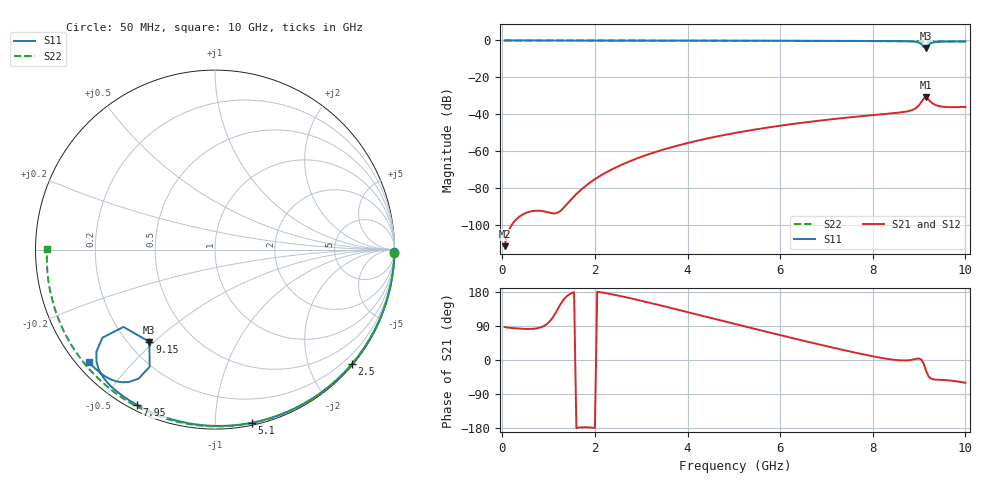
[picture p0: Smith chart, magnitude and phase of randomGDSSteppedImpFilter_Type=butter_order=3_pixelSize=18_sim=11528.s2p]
! freq	dB(S11)	phase(S11)	dB(S12)	phase(S12)
!  dB(S21)	phase(S21)	dB(S22)	phase(S22)
!S-par simulation data
#  GHz  S  DB  R 50
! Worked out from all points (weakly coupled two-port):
!   200 points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, 50 MHz to 10 GHz, reference 50 ohm
!   highest |S21| = -30.86 dB at 9.15 GHz (marker M1); lowest = -111.4 dB at 50 MHz (marker M2)
!   lowest |S11| = -4.0 dB at 9.15 GHz (marker M3), VSWR 4.42, Z = 14.1 - j24.1 ohm
!   |S11| at or under -10 dB: nowhere
!   |S22| runs from -0.6 to 0.0 dB; largest |S21 - S12| = 0
!   S11 on the Smith chart (normalised r, x): 50 MHz: open; 2.5 GHz: 0.03, -2.76; 5.1 GHz: 0.02, -1.23; 7.95 GHz: 0.02, -0.62; 9.15 GHz: 0.28, -0.48; 10 GHz: 0.04, -0.38
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0.05  -0.00 -0.8  -111.39 87.1  -111.39 87.1  -0.00 -1.1
0.85  -0.02 -13.8  -92.36 87.1  -92.36 87.1  -0.02 -17.7
1.75  -0.04 -28.1  -79.77 -177.5  -79.77 -177.5  -0.05 -36.0
2.1  -0.04 -33.6  -73.54 179.1  -73.54 179.1  -0.05 -43.0
2.5  -0.05 -39.8  -68.19 170.1  -68.19 170.1  -0.06 -50.9
3.4  -0.07 -53.5  -59.69 144.6  -59.69 144.6  -0.09 -68.0
4.2  -0.09 -65.3  -54.35 120.3  -54.35 120.3  -0.12 -82.7
5.05  -0.12 -77.4  -49.99 94.3  -49.99 94.3  -0.15 -97.7
5.1  -0.12 -78.1  -49.76 92.8  -49.76 92.8  -0.15 -98.5
6.7  -0.19 -99.9  -43.87 45.1  -43.87 45.1  -0.24 -125.4
7.95  -0.28 -116.7  -40.55 11.0  -40.55 11.0  -0.35 -145.8
8.35  -0.32 -122.5  -39.62 2.3  -39.62 2.3  -0.39 -152.4
8.8  -0.48 -131.1  -38.08 -0.4  -38.08 -0.4  -0.43 -159.8
8.9  -0.65 -134.4  -37.13 2.0  -37.13 2.0  -0.45 -161.5
9  -1.19 -139.3  -35.06 4.0  -35.06 4.0  -0.46 -163.1
9.05  -1.97 -142.0  -33.30 1.1  -33.30 1.1  -0.46 -164.0
9.1  -3.51 -139.8  -31.42 -9.7  -31.42 -9.7  -0.47 -164.8
9.15  -4.00 -125.4  -30.86 -28.0  -30.86 -28.0  -0.47 -165.6
9.2  -2.52 -119.1  -31.90 -42.2  -31.90 -42.2  -0.47 -166.5
9.3  -1.11 -123.0  -34.23 -50.9  -34.23 -50.9  -0.49 -168.2
9.55  -0.59 -130.8  -35.98 -52.8  -35.98 -52.8  -0.52 -172.5
10  -0.53 -138.5  -35.98 -60.1  -35.98 -60.1  -0.58 179.7
